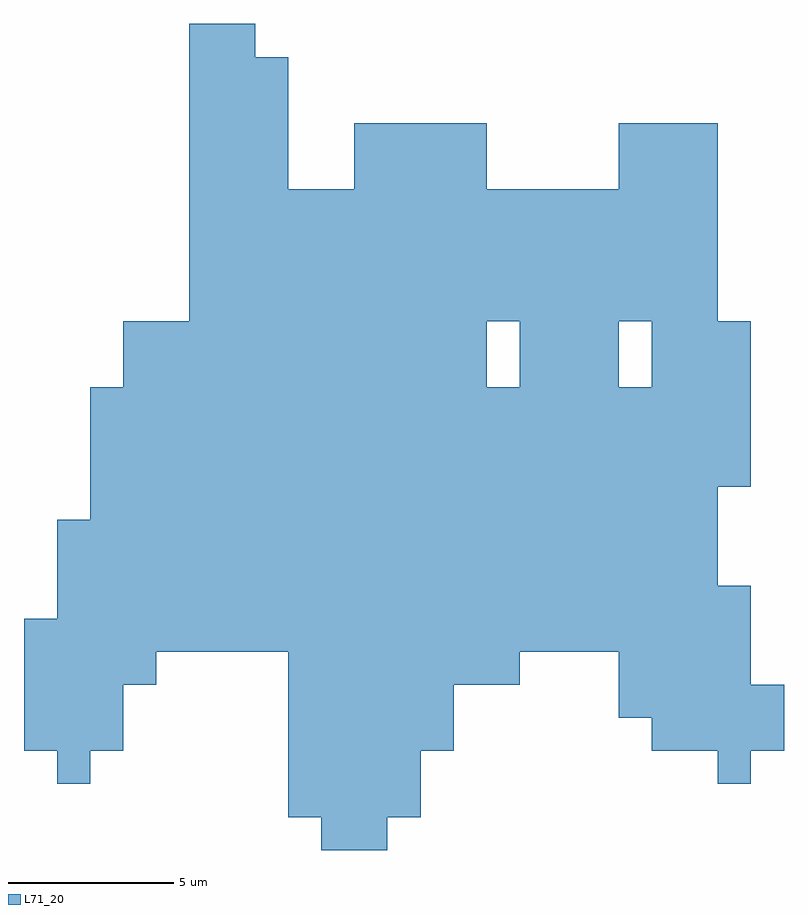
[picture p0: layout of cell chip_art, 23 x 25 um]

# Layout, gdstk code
import gdstk
lib = gdstk.Library(unit=1e-6, precision=1e-09)
def R(c, l, rs):  # rectangles x0, y0, x1, y1
    for r in rs: c.add(gdstk.rectangle(r[:2], r[2:], *l))
L71_20 = (71, 20)

chip_art = lib.new_cell('chip_art')
R(chip_art, L71_20, [(10,1,12,2), (9,2,13,4), (2,3,3,4), (22,3,23,4), (1,4,4,6), (9,4,14,6), (20,4,24,5), (19,5,24,6), (1,6,5,7), (9,6,16,7), (19,6,23,7), (1,7,23,8), (2,8,23,9), (2,9,22,11), (3,11,22,12), (3,12,23,15), (4,15,15,17), (16,15,19,17), (20,15,23,17), (6,17,22,21), (6,21,9,25), (11,21,15,23), (19,21,22,23), (6,25,8,26)])

lib.write_gds('chip_art.gds')
